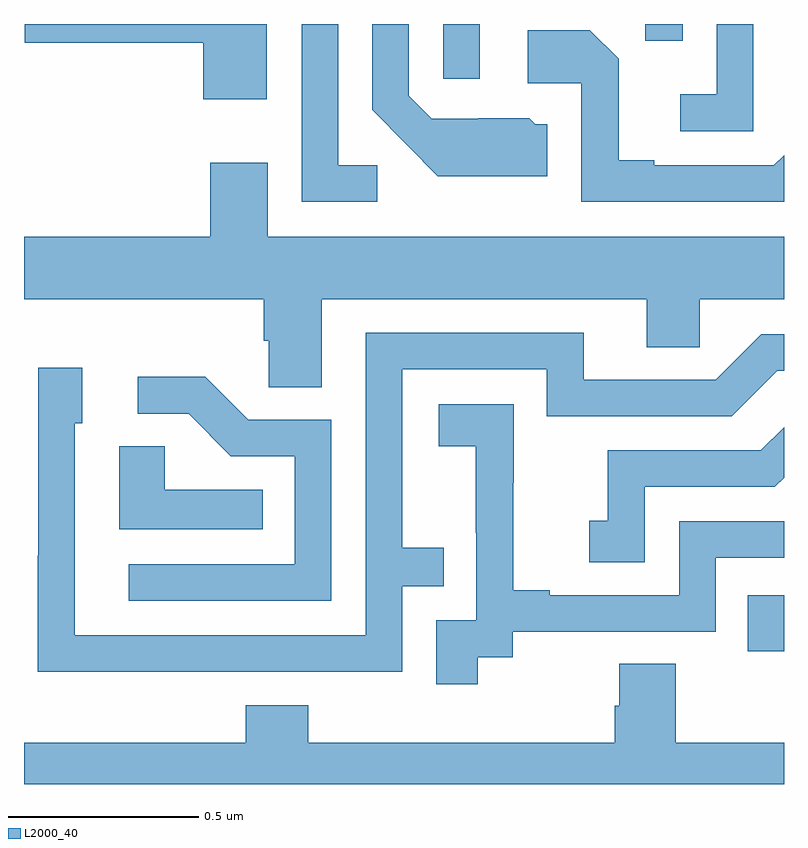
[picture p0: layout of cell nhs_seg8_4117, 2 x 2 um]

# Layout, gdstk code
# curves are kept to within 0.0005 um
import gdstk
lib = gdstk.Library(unit=1e-6, precision=1e-09)
def R(c, l, rs):  # rectangles x0, y0, x1, y1
    for r in rs: c.add(gdstk.rectangle(r[:2], r[2:], *l))
def P(c, l, *ps):  # polygons
    for p in ps: c.add(gdstk.Polygon(p, *l))
L2000_40 = (2000, 40)

nhs_seg8_4117 = lib.new_cell('nhs_seg8_4117')
R(nhs_seg8_4117, L2000_40, [(167.905,1106.25,168,1106.397), (167.103,1107.756,167.199,1107.9), (167.635,1107.856,167.733,1107.9)])
P(nhs_seg8_4117, L2000_40, [(166.639,1107.9),(166.002,1107.9),(166.002,1107.851),(166.472,1107.851),(166.472,1107.702),(166.639,1107.702)],
  [(167.919,1107.9),(167.823,1107.9),(167.823,1107.715),(167.727,1107.715),(167.727,1107.618),(167.919,1107.618)],
  [(166.93,1107.528),(166.827,1107.528),(166.827,1107.9),(166.731,1107.9),(166.731,1107.432),(166.93,1107.432)],
  [(167.377,1107.636),(167.346,1107.636),(167.33,1107.652),(167.196,1107.652),(167.196,1107.651),(167.073,1107.651),(167.013,1107.711),(167.013,1107.9),(166.917,1107.9),(166.917,1107.674),(167.089,1107.5),(167.377,1107.5)],
  [(168,1107.555),(167.973,1107.528),(167.659,1107.528),(167.659,1107.541),(167.565,1107.541),(167.565,1107.808),(167.489,1107.884),(167.325,1107.884),(167.325,1107.744),(167.466,1107.744),(167.466,1107.432),(168,1107.432)],
  [(166.642,1107.535),(166.49,1107.535),(166.49,1107.34),(166,1107.34),(166,1107.176),(166.631,1107.176),(166.631,1107.067),(166.644,1107.067),(166.644,1106.944),(166.783,1106.944),(166.783,1107.176),(167.639,1107.176),(167.639,1107.049),(167.778,1107.049),(167.778,1107.176),(168,1107.176),(168,1107.34),(166.642,1107.34)],
  [(166.499,1106.196),(166.995,1106.196),(166.995,1106.421),(167.105,1106.421),(167.105,1106.522),(166.995,1106.522),(166.995,1106.991),(167.376,1106.991),(167.376,1106.868),(167.862,1106.868),(167.982,1106.988),(168,1106.988),(168,1107.084),(167.94,1107.084),(167.82,1106.964),(167.473,1106.964),(167.473,1107.087),(166.899,1107.087),(166.899,1106.292),(166.134,1106.292),(166.134,1106.85),(166.153,1106.85),(166.153,1106.995),(166.038,1106.995),(166.038,1106.501),(166.036,1106.501),(166.036,1106.195),(166.499,1106.195)],
  [(166.809,1106.859),(166.59,1106.859),(166.477,1106.972),(166.299,1106.972),(166.299,1106.874),(166.433,1106.874),(166.544,1106.763),(166.713,1106.763),(166.713,1106.478),(166.275,1106.478),(166.275,1106.382),(166.809,1106.382)],
  [(167.194,1106.233),(167.286,1106.233),(167.286,1106.301),(167.82,1106.301),(167.82,1106.496),(168,1106.496),(168,1106.592),(167.724,1106.592),(167.724,1106.397),(167.383,1106.397),(167.383,1106.41),(167.288,1106.41),(167.288,1106.693),(167.289,1106.693),(167.289,1106.899),(167.091,1106.899),(167.091,1106.789),(167.189,1106.789),(167.189,1106.561),(167.19,1106.561),(167.19,1106.331),(167.085,1106.331),(167.085,1106.163),(167.194,1106.163)],
  [(167.634,1106.682),(167.976,1106.682),(168,1106.706),(168,1106.839),(167.939,1106.778),(167.536,1106.778),(167.536,1106.593),(167.487,1106.593),(167.487,1106.484),(167.634,1106.484)],
  [(166.628,1106.674),(166.371,1106.674),(166.371,1106.789),(166.25,1106.789),(166.25,1106.57),(166.628,1106.57)],
  [(168,1106.008),(167.715,1106.008),(167.715,1106.216),(167.567,1106.216),(167.567,1106.106),(167.555,1106.106),(167.555,1106.008),(166.748,1106.008),(166.748,1106.107),(166.583,1106.107),(166.583,1106.008),(166,1106.008),(166,1105.9),(168,1105.9)])

lib.write_gds('nhs_seg8_4117.gds')
